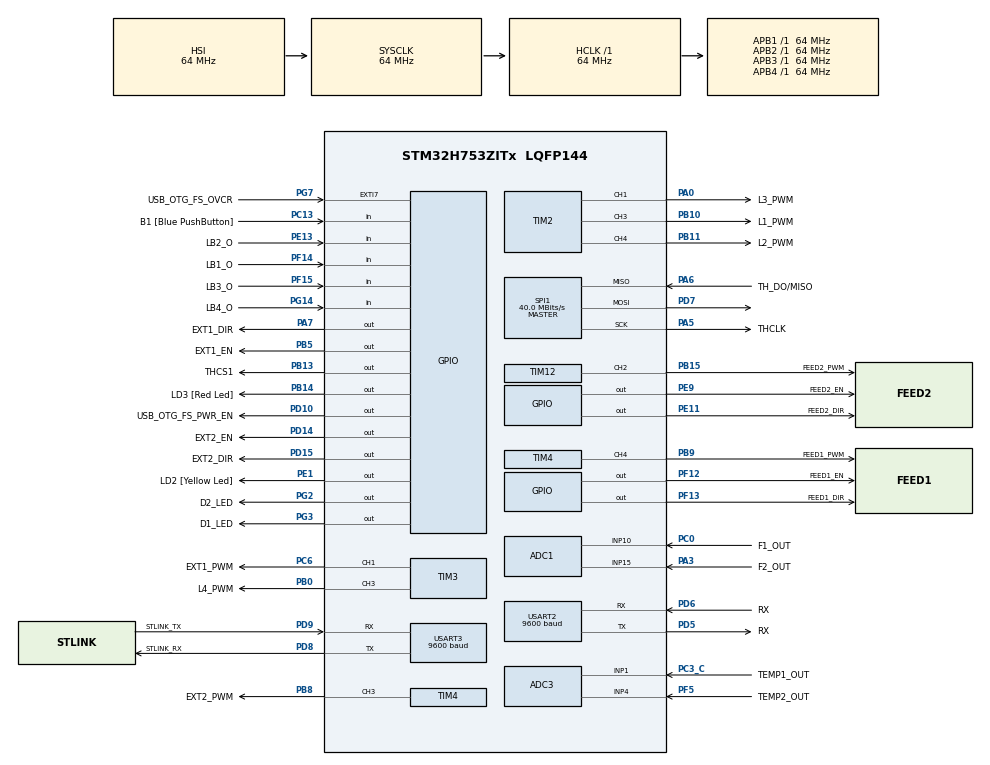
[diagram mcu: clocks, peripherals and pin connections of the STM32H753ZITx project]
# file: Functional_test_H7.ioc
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ADC1.Channel-0\#ChannelRegularConversion=ADC_CHANNEL_15
ADC1.NbrOfConversionFlag=1
ADC1.OffsetNumber-0\#ChannelRegularConversion=ADC_OFFSET_NONE
ADC1.OffsetSignedSaturation-0\#ChannelRegularConversion=DISABLE
ADC1.Rank-0\#ChannelRegularConversion=1
ADC1.SamplingTime-0\#ChannelRegularConversion=ADC_SAMPLETIME_1CYCLE_5
ADC1.master=1
ADC3.Channel-0\#ChannelRegularConversion=ADC_CHANNEL_1
ADC3.NbrOfConversionFlag=1
ADC3.OffsetNumber-0\#ChannelRegularConversion=ADC_OFFSET_NONE
ADC3.OffsetSignedSaturation-0\#ChannelRegularConversion=DISABLE
ADC3.Rank-0\#ChannelRegularConversion=1
ADC3.SamplingTime-0\#ChannelRegularConversion=ADC_SAMPLETIME_1CYCLE_5
CORTEX_M7.CPU_DCache=Disabled
CORTEX_M7.CPU_ICache=Disabled
CORTEX_M7.MPU_Control=__NULL
Mcu.Family=STM32H7
Mcu.Name=STM32H753ZITx
Mcu.Package=LQFP144
NVIC.EXTI9_5_IRQn=true\:0\:0\:false\:false\:true\:true\:true\:true
NVIC.PriorityGroup=NVIC_PRIORITYGROUP_4
NVIC.USART3_IRQn=true\:0\:0\:false\:false\:true\:true\:true\:true
PA0.GPIO_Label=L3_PWM
PA0.Signal=S_TIM2_CH1_ETR
PA1.Signal=ETH_REF_CLK
PA11.Signal=USB_OTG_FS_DM
PA12.Signal=USB_OTG_FS_DP
PA2.Signal=ETH_MDIO
PA3.GPIO_Label=F2_OUT
PA3.Signal=ADCx_INP15
PA5.GPIO_Label=THCLK
PA5.Mode=Full_Duplex_Master
PA5.Signal=SPI1_SCK
PA6.GPIO_Label=TH_DO/MISO
PA6.Mode=Full_Duplex_Master
PA6.Signal=SPI1_MISO
PA7.GPIO_Label=EXT1_DIR
PA7.Signal=GPIO_Output
PA8.Signal=USB_OTG_FS_SOF
PA9.Signal=USB_OTG_FS_VBUS
PB0.GPIO_Label=L4_PWM
PB0.Signal=S_TIM3_CH3
PB10.GPIO_Label=L1_PWM
PB10.Signal=S_TIM2_CH3
PB11.GPIO_Label=L2_PWM
PB11.Signal=S_TIM2_CH4
PB13.GPIO_Label=THCS1
PB13.Signal=GPIO_Output
PB14.GPIO_Label=LD3 [Red Led]
PB14.Signal=GPIO_Output
PB15.GPIO_Label=FEED2_PWM
PB15.Signal=S_TIM12_CH2
PB5.GPIO_Label=EXT1_EN
PB5.Signal=GPIO_Output
PB8.GPIO_Label=EXT2_PWM
PB8.Signal=S_TIM4_CH3
PB9.GPIO_Label=FEED1_PWM
PB9.Signal=S_TIM4_CH4
PC0.GPIO_Label=F1_OUT
PC0.Signal=ADCx_INP10
PC1.Signal=ETH_MDC
PC13.GPIO_Label=B1 [Blue PushButton]
PC13.Signal=GPIO_Input
PC14-OSC32_IN\ (OSC32_IN).Signal=RCC_OSC32_IN
PC15-OSC32_OUT\ (OSC32_OUT).Signal=RCC_OSC32_OUT
PC3_C.GPIO_Label=TEMP1_OUT
PC3_C.Mode=IN1-Single-Ended
PC3_C.Signal=ADC3_INP1
PC4.Signal=ETH_RXD0
PC5.Signal=ETH_RXD1
PC6.GPIO_Label=EXT1_PWM
PC6.Signal=S_TIM3_CH1
PD10.GPIO_Label=USB_OTG_FS_PWR_EN
PD10.Signal=GPIO_Output
PD14.GPIO_Label=EXT2_EN
PD14.Signal=GPIO_Output
PD15.GPIO_Label=EXT2_DIR
PD15.Signal=GPIO_Output
PD5.GPIO_Label=RX
PD5.Mode=Asynchronous
PD5.Signal=USART2_TX
PD6.GPIO_Label=RX
PD6.Mode=Asynchronous
PD6.Signal=USART2_RX
PD7.Mode=Full_Duplex_Master
PD7.Signal=SPI1_MOSI
PD8.GPIO_Label=STLINK_RX
PD8.Mode=Asynchronous
PD8.Signal=USART3_TX
PD9.GPIO_Label=STLINK_TX
PD9.Mode=Asynchronous
PD9.Signal=USART3_RX
PE1.GPIO_Label=LD2 [Yellow Led]
PE1.Signal=GPIO_Output
PE11.GPIO_Label=FEED2_DIR
PE11.Signal=GPIO_Output
PE13.GPIO_Label=LB2_O
PE13.Signal=GPIO_Input
PE9.GPIO_Label=FEED2_EN
PE9.Signal=GPIO_Output
PF12.GPIO_Label=FEED1_EN
PF12.Signal=GPIO_Output
PF13.GPIO_Label=FEED1_DIR
PF13.Signal=GPIO_Output
PF14.GPIO_Label=LB1_O
PF14.Signal=GPIO_Input
PF15.GPIO_Label=LB3_O
PF15.Signal=GPIO_Input
PF5.GPIO_Label=TEMP2_OUT
PF5.Mode=IN4-Single-Ended
PF5.Signal=ADC3_INP4
PG11.Signal=ETH_TX_EN
PG13.Signal=ETH_TXD0
PG14.GPIO_Label=LB4_O
PG14.Signal=GPIO_Input
PG2.GPIO_Label=D2_LED
PG2.Signal=GPIO_Output
PG3.GPIO_Label=D1_LED
PG3.Signal=GPIO_Output
PG7.GPIO_Label=USB_OTG_FS_OVCR
PG7.Signal=GPXTI7
PH0-OSC_IN\ (PH0).Signal=RCC_OSC_IN
PH1-OSC_OUT\ (PH1).Signal=RCC_OSC_OUT
ProjectManager.HeapSize=0x200
ProjectManager.StackSize=0x400
ProjectManager.TargetToolchain=STM32CubeIDE
RCC.ADCFreq_Value=80000000
RCC.APB1Freq_Value=64000000
RCC.APB2Freq_Value=64000000
RCC.APB3Freq_Value=64000000
RCC.APB4Freq_Value=64000000
RCC.CortexFreq_Value=64000000
RCC.DIVM1=4
RCC.DIVM2=4
RCC.DIVN1=10
RCC.DIVN2=10
RCC.DIVQ1=1
RCC.HCLKFreq_Value=64000000
RCC.HSE_VALUE=8000000
RCC.PLL2FRACN=0
RCC.PLL3FRACN=0
RCC.PLLFRACN=0
RCC.PWR_Regulator_Voltage_Scale=PWR_REGULATOR_VOLTAGE_SCALE2
RCC.SPI123CLockSelection=RCC_SPI123CLKSOURCE_PLL2
RCC.SYSCLKFreq_VALUE=64000000
RCC.USBFreq_Value=160000000
SH.ADCx_INP10.0=ADC1_INP10,IN10-Single-Ended
SH.ADCx_INP15.0=ADC1_INP15,IN15-Single-Ended
SH.S_TIM12_CH2.0=TIM12_CH2,PWM Generation2 CH2
SH.S_TIM2_CH1_ETR.0=TIM2_CH1,PWM Generation1 CH1
SH.S_TIM2_CH3.0=TIM2_CH3,PWM Generation3 CH3
SH.S_TIM2_CH4.0=TIM2_CH4,PWM Generation4 CH4
SH.S_TIM3_CH1.0=TIM3_CH1,PWM Generation1 CH1
SH.S_TIM3_CH3.0=TIM3_CH3,PWM Generation3 CH3
SH.S_TIM4_CH3.0=TIM4_CH3,PWM Generation3 CH3
SH.S_TIM4_CH4.0=TIM4_CH4,PWM Generation4 CH4
SPI1.BaudRatePrescaler=SPI_BAUDRATEPRESCALER_2
SPI1.CalculateBaudRate=40.0 MBits/s
SPI1.Direction=SPI_DIRECTION_2LINES
SPI1.Mode=SPI_MODE_MASTER
SPI1.VirtualType=VM_MASTER
TIM12.AutoReloadPreload=TIM_AUTORELOAD_PRELOAD_ENABLE
TIM12.Channel-PWM\ Generation2\ CH2=TIM_CHANNEL_2
TIM2.AutoReloadPreload=TIM_AUTORELOAD_PRELOAD_ENABLE
TIM2.Channel-PWM\ Generation1\ CH1=TIM_CHANNEL_1
TIM2.Channel-PWM\ Generation3\ CH3=TIM_CHANNEL_3
TIM2.Channel-PWM\ Generation4\ CH4=TIM_CHANNEL_4
TIM3.AutoReloadPreload=TIM_AUTORELOAD_PRELOAD_ENABLE
TIM3.Channel-PWM\ Generation1\ CH1=TIM_CHANNEL_1
TIM3.Channel-PWM\ Generation3\ CH3=TIM_CHANNEL_3
TIM4.AutoReloadPreload=TIM_AUTORELOAD_PRELOAD_ENABLE
TIM4.Channel-PWM\ Generation3\ CH3=TIM_CHANNEL_3
TIM4.Channel-PWM\ Generation4\ CH4=TIM_CHANNEL_4
TIM8.AutoReloadPreload=TIM_AUTORELOAD_PRELOAD_ENABLE
USART2.BaudRate=9600
USART2.VirtualMode-Asynchronous=VM_ASYNC
USART3.BaudRate=9600
USART3.VirtualMode-Asynchronous=VM_ASYNC
VP_MEMORYMAP_VS_MEMORYMAP.Mode=CurAppReg
VP_TIM12_VS_ClockSourceINT.Mode=Internal
VP_TIM2_VS_ClockSourceINT.Mode=Internal
VP_TIM3_VS_ClockSourceINT.Mode=Internal
VP_TIM4_VS_ClockSourceINT.Mode=Internal
VP_TIM8_VS_ClockSourceINT.Mode=Internal
board=NUCLEO-H753ZI

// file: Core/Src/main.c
/* USER CODE BEGIN Header */
/**
  ******************************************************************************
  * @file           : main.c
  * @brief          : Main program body
  ******************************************************************************
  * @attention
  *
  * Copyright (c) 2024 STMicroelectronics.
  * All rights reserved.
  *
  * This software is licensed under terms that can be found in the LICENSE file
  * in the root directory of this software component.
  * If no LICENSE file comes with this software, it is provided AS-IS.
  *
  ******************************************************************************
  */
/* USER CODE END Header */
#include "main.h"

/* USER CODE BEGIN Includes */
#include <string.h>
#include <stdio.h>
#include <stdlib.h>
/* USER CODE END Includes */

ADC_HandleTypeDef hadc1;
ADC_HandleTypeDef hadc3;

SPI_HandleTypeDef hspi1;

TIM_HandleTypeDef htim2;
TIM_HandleTypeDef htim3;
TIM_HandleTypeDef htim4;
TIM_HandleTypeDef htim8;
TIM_HandleTypeDef htim12;

UART_HandleTypeDef huart2;
UART_HandleTypeDef huart3;

void SystemClock_Config(void);
void PeriphCommonClock_Config(void);
static void MX_GPIO_Init(void);
static void MX_ADC1_Init(void);
static void MX_ADC3_Init(void);
static void MX_SPI1_Init(void);
static void MX_TIM2_Init(void);
static void MX_TIM3_Init(void);
static void MX_TIM4_Init(void);
static void MX_TIM8_Init(void);
static void MX_TIM12_Init(void);
static void MX_USART2_UART_Init(void);
static void MX_USART3_UART_Init(void);
/* USER CODE BEGIN PFP */
//funcrion declaration
void processSerialInput(void);
void updatePWMValue(uint8_t pinIndex,uint16_t pwmValue);
void setGPIOState(uint8_t pinIndex,GPIO_PinState state);
/* USER CODE END PFP */

/* USER CODE BEGIN 0 */

//UART recieve buffer
#define RX_BUFFER_SIZE 100
uint8_t rxBuffer[RX_BUFFER_SIZE];
uint8_t rxIndex = 0;
uint8_t dataReceived = 0;

/* USER CODE END 0 */

int main(void)
{

  /* MCU Configuration--------------------------------------------------------*/

  /* Reset of all peripherals, Initializes the Flash interface and the Systick. */
  HAL_Init();

  /* Configure the system clock */
  SystemClock_Config();

  /* Configure the peripherals common clocks */
  PeriphCommonClock_Config();

  /* Initialize all configured peripherals */
  MX_GPIO_Init();
  MX_ADC1_Init();
  MX_ADC3_Init();
  MX_SPI1_Init();
  MX_TIM2_Init();
  MX_TIM3_Init();
  MX_TIM4_Init();
  MX_TIM8_Init();
  MX_TIM12_Init();
  MX_USART2_UART_Init();
  MX_USART3_UART_Init();
  /* USER CODE BEGIN 2 */

  //Start PWM channels

  HAL_TIM_PWM_Start(&htim3, TIM_CHANNEL_1);//Extruder 1 pwm
  HAL_TIM_PWM_Start(&htim4, TIM_CHANNEL_3);//Extruder 2 pwm
  HAL_TIM_PWM_Start(&htim4, TIM_CHANNEL_4);//Feed 1 pwm
  HAL_TIM_PWM_Start(&htim12, TIM_CHANNEL_2);//Feed 2 pwm
  HAL_TIM_PWM_Start(&htim2, TIM_CHANNEL_3);//L1 pwm
  HAL_TIM_PWM_Start(&htim2, TIM_CHANNEL_4);//L2 pwm
  HAL_TIM_PWM_Start(&htim2, TIM_CHANNEL_1);//L3 pwm
  HAL_TIM_PWM_Start(&htim3, TIM_CHANNEL_3);//L4 pwm

  //Start UART Reception

  HAL_UART_Receive_IT(&huart3,&rxBuffer[rxIndex],1);

  /* USER CODE END 2 */

  /* Infinite loop */
  /* USER CODE BEGIN WHILE */
  while (1)
  {
	  if (dataReceived){
		  processSerialInput();
		  dataReceived = 0;
	  }

    /* USER CODE END WHILE */

  }
}

void SystemClock_Config(void)
{
  RCC_OscInitTypeDef RCC_OscInitStruct = {0};
  RCC_ClkInitTypeDef RCC_ClkInitStruct = {0};

  /** Supply configuration update enable
  */
  HAL_PWREx_ConfigSupply(PWR_LDO_SUPPLY);

  /** Configure the main internal regulator output voltage
  */
  __HAL_PWR_VOLTAGESCALING_CONFIG(PWR_REGULATOR_VOLTAGE_SCALE2);

  while(!__HAL_PWR_GET_FLAG(PWR_FLAG_VOSRDY)) {}

  /** Macro to configure the PLL clock source
  */
  __HAL_RCC_PLL_PLLSOURCE_CONFIG(RCC_PLLSOURCE_HSI);

  /** Initializes the RCC Oscillators according to the specified parameters
  * in the RCC_OscInitTypeDef structure.
  */
  RCC_OscInitStruct.OscillatorType = RCC_OSCILLATORTYPE_HSI;
  RCC_OscInitStruct.HSIState = RCC_HSI_DIV1;
  RCC_OscInitStruct.HSICalibrationValue = RCC_HSICALIBRATION_DEFAULT;
  RCC_OscInitStruct.PLL.PLLState = RCC_PLL_NONE;
  if (HAL_RCC_OscConfig(&RCC_OscInitStruct) != HAL_OK)
  {
    Error_Handler();
  }

  /** Initializes the CPU, AHB and APB buses clocks
  */
  RCC_ClkInitStruct.ClockType = RCC_CLOCKTYPE_HCLK|RCC_CLOCKTYPE_SYSCLK
                              |RCC_CLOCKTYPE_PCLK1|RCC_CLOCKTYPE_PCLK2
                              |RCC_CLOCKTYPE_D3PCLK1|RCC_CLOCKTYPE_D1PCLK1;
  RCC_ClkInitStruct.SYSCLKSource = RCC_SYSCLKSOURCE_HSI;
  RCC_ClkInitStruct.SYSCLKDivider = RCC_SYSCLK_DIV1;
  RCC_ClkInitStruct.AHBCLKDivider = RCC_HCLK_DIV1;
  RCC_ClkInitStruct.APB3CLKDivider = RCC_APB3_DIV1;
  RCC_ClkInitStruct.APB1CLKDivider = RCC_APB1_DIV1;
  RCC_ClkInitStruct.APB2CLKDivider = RCC_APB2_DIV1;
  RCC_ClkInitStruct.APB4CLKDivider = RCC_APB4_DIV1;

  if (HAL_RCC_ClockConfig(&RCC_ClkInitStruct, FLASH_LATENCY_1) != HAL_OK)
  {
    Error_Handler();
  }
}

void PeriphCommonClock_Config(void)
{
  RCC_PeriphCLKInitTypeDef PeriphClkInitStruct = {0};

  /** Initializes the peripherals clock
  */
  PeriphClkInitStruct.PeriphClockSelection = RCC_PERIPHCLK_ADC|RCC_PERIPHCLK_SPI1;
  PeriphClkInitStruct.PLL2.PLL2M = 4;
  PeriphClkInitStruct.PLL2.PLL2N = 10;
  PeriphClkInitStruct.PLL2.PLL2P = 2;
  PeriphClkInitStruct.PLL2.PLL2Q = 2;
  PeriphClkInitStruct.PLL2.PLL2R = 2;
  PeriphClkInitStruct.PLL2.PLL2RGE = RCC_PLL2VCIRANGE_3;
  PeriphClkInitStruct.PLL2.PLL2VCOSEL = RCC_PLL2VCOMEDIUM;
  PeriphClkInitStruct.PLL2.PLL2FRACN = 0;
  PeriphClkInitStruct.Spi123ClockSelection = RCC_SPI123CLKSOURCE_PLL2;
  PeriphClkInitStruct.AdcClockSelection = RCC_ADCCLKSOURCE_PLL2;
  if (HAL_RCCEx_PeriphCLKConfig(&PeriphClkInitStruct) != HAL_OK)
  {
    Error_Handler();
  }
}

static void MX_ADC1_Init(void)
{

  ADC_MultiModeTypeDef multimode = {0};
  ADC_ChannelConfTypeDef sConfig = {0};

  /** Common config
  */
  hadc1.Instance = ADC1;
  hadc1.Init.ScanConvMode = ADC_SCAN_DISABLE;
  hadc1.Init.EOCSelection = ADC_EOC_SINGLE_CONV;
  hadc1.Init.LowPowerAutoWait = DISABLE;
  hadc1.Init.ContinuousConvMode = DISABLE;
  hadc1.Init.NbrOfConversion = 1;
  hadc1.Init.DiscontinuousConvMode = DISABLE;
  hadc1.Init.ExternalTrigConv = ADC_SOFTWARE_START;
  hadc1.Init.ExternalTrigConvEdge = ADC_EXTERNALTRIGCONVEDGE_NONE;
  hadc1.Init.ConversionDataManagement = ADC_CONVERSIONDATA_DR;
  hadc1.Init.Overrun = ADC_OVR_DATA_PRESERVED;
  hadc1.Init.LeftBitShift = ADC_LEFTBITSHIFT_NONE;
  hadc1.Init.OversamplingMode = DISABLE;
  hadc1.Init.Oversampling.Ratio = 1;
  if (HAL_ADC_Init(&hadc1) != HAL_OK)
  {
    Error_Handler();
  }
  hadc1.Init.ClockPrescaler = ADC_CLOCK_ASYNC_DIV2;
  hadc1.Init.Resolution = ADC_RESOLUTION_16B;
  if (HAL_ADC_Init(&hadc1) != HAL_OK)
  {
    Error_Handler();
  }

  /** Configure the ADC multi-mode
  */
  multimode.Mode = ADC_MODE_INDEPENDENT;
  if (HAL_ADCEx_MultiModeConfigChannel(&hadc1, &multimode) != HAL_OK)
  {
    Error_Handler();
  }

  /** Configure Regular Channel
  */
  sConfig.Channel = ADC_CHANNEL_15;
  sConfig.Rank = ADC_REGULAR_RANK_1;
  sConfig.SamplingTime = ADC_SAMPLETIME_1CYCLE_5;
  sConfig.SingleDiff = ADC_SINGLE_ENDED;
  sConfig.OffsetNumber = ADC_OFFSET_NONE;
  sConfig.Offset = 0;
  sConfig.OffsetSignedSaturation = DISABLE;
  if (HAL_ADC_ConfigChannel(&hadc1, &sConfig) != HAL_OK)
  {
    Error_Handler();
  }

}

static void MX_ADC3_Init(void)
{

  ADC_ChannelConfTypeDef sConfig = {0};

  /** Common config
  */
  hadc3.Instance = ADC3;
  hadc3.Init.ClockPrescaler = ADC_CLOCK_ASYNC_DIV1;
  hadc3.Init.ScanConvMode = ADC_SCAN_DISABLE;
  hadc3.Init.EOCSelection = ADC_EOC_SINGLE_CONV;
  hadc3.Init.LowPowerAutoWait = DISABLE;
  hadc3.Init.ContinuousConvMode = DISABLE;
  hadc3.Init.NbrOfConversion = 1;
  hadc3.Init.DiscontinuousConvMode = DISABLE;
  hadc3.Init.ExternalTrigConv = ADC_SOFTWARE_START;
  hadc3.Init.ExternalTrigConvEdge = ADC_EXTERNALTRIGCONVEDGE_NONE;
  hadc3.Init.ConversionDataManagement = ADC_CONVERSIONDATA_DR;
  hadc3.Init.Overrun = ADC_OVR_DATA_PRESERVED;
  hadc3.Init.LeftBitShift = ADC_LEFTBITSHIFT_NONE;
  hadc3.Init.OversamplingMode = DISABLE;
  hadc3.Init.Oversampling.Ratio = 1;
  if (HAL_ADC_Init(&hadc3) != HAL_OK)
  {
    Error_Handler();
  }
  hadc3.Init.Resolution = ADC_RESOLUTION_16B;
  if (HAL_ADC_Init(&hadc3) != HAL_OK)
  {
    Error_Handler();
  }

  /** Configure Regular Channel
  */
  sConfig.Channel = ADC_CHANNEL_1;
  sConfig.Rank = ADC_REGULAR_RANK_1;
  sConfig.SamplingTime = ADC_SAMPLETIME_1CYCLE_5;
  sConfig.SingleDiff = ADC_SINGLE_ENDED;
  sConfig.OffsetNumber = ADC_OFFSET_NONE;
  sConfig.Offset = 0;
  sConfig.OffsetSignedSaturation = DISABLE;
  if (HAL_ADC_ConfigChannel(&hadc3, &sConfig) != HAL_OK)
  {
    Error_Handler();
  }

}

static void MX_SPI1_Init(void)
{

  /* SPI1 parameter configuration*/
  hspi1.Instance = SPI1;
  hspi1.Init.Mode = SPI_MODE_MASTER;
  hspi1.Init.Direction = SPI_DIRECTION_2LINES;
  hspi1.Init.DataSize = SPI_DATASIZE_4BIT;
  hspi1.Init.CLKPolarity = SPI_POLARITY_LOW;
  hspi1.Init.CLKPhase = SPI_PHASE_1EDGE;
  hspi1.Init.NSS = SPI_NSS_SOFT;
  hspi1.Init.BaudRatePrescaler = SPI_BAUDRATEPRESCALER_2;
  hspi1.Init.FirstBit = SPI_FIRSTBIT_MSB;
  hspi1.Init.TIMode = SPI_TIMODE_DISABLE;
  hspi1.Init.CRCCalculation = SPI_CRCCALCULATION_DISABLE;
  hspi1.Init.CRCPolynomial = 0x0;
  hspi1.Init.NSSPMode = SPI_NSS_PULSE_ENABLE;
  hspi1.Init.NSSPolarity = SPI_NSS_POLARITY_LOW;
  hspi1.Init.FifoThreshold = SPI_FIFO_THRESHOLD_01DATA;
  hspi1.Init.TxCRCInitializationPattern = SPI_CRC_INITIALIZATION_ALL_ZERO_PATTERN;
  hspi1.Init.RxCRCInitializationPattern = SPI_CRC_INITIALIZATION_ALL_ZERO_PATTERN;
  hspi1.Init.MasterSSIdleness = SPI_MASTER_SS_IDLENESS_00CYCLE;
  hspi1.Init.MasterInterDataIdleness = SPI_MASTER_INTERDATA_IDLENESS_00CYCLE;
  hspi1.Init.MasterReceiverAutoSusp = SPI_MASTER_RX_AUTOSUSP_DISABLE;
  hspi1.Init.MasterKeepIOState = SPI_MASTER_KEEP_IO_STATE_DISABLE;
  hspi1.Init.IOSwap = SPI_IO_SWAP_DISABLE;
  if (HAL_SPI_Init(&hspi1) != HAL_OK)
  {
    Error_Handler();
  }

}

static void MX_TIM2_Init(void)
{

  TIM_ClockConfigTypeDef sClockSourceConfig = {0};
  TIM_MasterConfigTypeDef sMasterConfig = {0};
  TIM_OC_InitTypeDef sConfigOC = {0};

  htim2.Instance = TIM2;
  htim2.Init.Prescaler = 0;
  htim2.Init.CounterMode = TIM_COUNTERMODE_UP;
  htim2.Init.Period = 255;
  htim2.Init.ClockDivision = TIM_CLOCKDIVISION_DIV1;
  htim2.Init.AutoReloadPreload = TIM_AUTORELOAD_PRELOAD_ENABLE;
  if (HAL_TIM_Base_Init(&htim2) != HAL_OK)
  {
    Error_Handler();
  }
  sClockSourceConfig.ClockSource = TIM_CLOCKSOURCE_INTERNAL;
  if (HAL_TIM_ConfigClockSource(&htim2, &sClockSourceConfig) != HAL_OK)
  {
    Error_Handler();
  }
  if (HAL_TIM_PWM_Init(&htim2) != HAL_OK)
  {
    Error_Handler();
  }
  sMasterConfig.MasterOutputTrigger = TIM_TRGO_RESET;
  sMasterConfig.MasterSlaveMode = TIM_MASTERSLAVEMODE_DISABLE;
  if (HAL_TIMEx_MasterConfigSynchronization(&htim2, &sMasterConfig) != HAL_OK)
  {
    Error_Handler();
  }
  sConfigOC.OCMode = TIM_OCMODE_PWM1;
  sConfigOC.Pulse = 0;
  sConfigOC.OCPolarity = TIM_OCPOLARITY_HIGH;
  sConfigOC.OCFastMode = TIM_OCFAST_DISABLE;
  if (HAL_TIM_PWM_ConfigChannel(&htim2, &sConfigOC, TIM_CHANNEL_1) != HAL_OK)
  {
    Error_Handler();
  }
  if (HAL_TIM_PWM_ConfigChannel(&htim2, &sConfigOC, TIM_CHANNEL_3) != HAL_OK)
  {
    Error_Handler();
  }
  if (HAL_TIM_PWM_ConfigChannel(&htim2, &sConfigOC, TIM_CHANNEL_4) != HAL_OK)
  {
    Error_Handler();
  }
  HAL_TIM_MspPostInit(&htim2);

}

static void MX_TIM3_Init(void)
{

  TIM_ClockConfigTypeDef sClockSourceConfig = {0};
  TIM_MasterConfigTypeDef sMasterConfig = {0};
  TIM_OC_InitTypeDef sConfigOC = {0};

  htim3.Instance = TIM3;
  htim3.Init.Prescaler = 0;
  htim3.Init.CounterMode = TIM_COUNTERMODE_UP;
  htim3.Init.Period = 255;
  htim3.Init.ClockDivision = TIM_CLOCKDIVISION_DIV1;
  htim3.Init.AutoReloadPreload = TIM_AUTORELOAD_PRELOAD_ENABLE;
  if (HAL_TIM_Base_Init(&htim3) != HAL_OK)
  {
    Error_Handler();
  }
  sClockSourceConfig.ClockSource = TIM_CLOCKSOURCE_INTERNAL;
  if (HAL_TIM_ConfigClockSource(&htim3, &sClockSourceConfig) != HAL_OK)
  {
    Error_Handler();
  }
  if (HAL_TIM_PWM_Init(&htim3) != HAL_OK)
  {
    Error_Handler();
  }
  sMasterConfig.MasterOutputTrigger = TIM_TRGO_RESET;
  sMasterConfig.MasterSlaveMode = TIM_MASTERSLAVEMODE_DISABLE;
  if (HAL_TIMEx_MasterConfigSynchronization(&htim3, &sMasterConfig) != HAL_OK)
  {
    Error_Handler();
  }
  sConfigOC.OCMode = TIM_OCMODE_PWM1;
  sConfigOC.Pulse = 0;
  sConfigOC.OCPolarity = TIM_OCPOLARITY_HIGH;
  sConfigOC.OCFastMode = TIM_OCFAST_DISABLE;
  if (HAL_TIM_PWM_ConfigChannel(&htim3, &sConfigOC, TIM_CHANNEL_1) != HAL_OK)
  {
    Error_Handler();
  }
  if (HAL_TIM_PWM_ConfigChannel(&htim3, &sConfigOC, TIM_CHANNEL_3) != HAL_OK)
  {
    Error_Handler();
  }
  HAL_TIM_MspPostInit(&htim3);

}

static void MX_TIM4_Init(void)
{

  TIM_ClockConfigTypeDef sClockSourceConfig = {0};
  TIM_MasterConfigTypeDef sMasterConfig = {0};
  TIM_OC_InitTypeDef sConfigOC = {0};

  htim4.Instance = TIM4;
  htim4.Init.Prescaler = 0;
  htim4.Init.CounterMode = TIM_COUNTERMODE_UP;
  htim4.Init.Period = 255;
  htim4.Init.ClockDivision = TIM_CLOCKDIVISION_DIV1;
  htim4.Init.AutoReloadPreload = TIM_AUTORELOAD_PRELOAD_ENABLE;
  if (HAL_TIM_Base_Init(&htim4) != HAL_OK)
  {
    Error_Handler();
  }
  sClockSourceConfig.ClockSource = TIM_CLOCKSOURCE_INTERNAL;
  if (HAL_TIM_ConfigClockSource(&htim4, &sClockSourceConfig) != HAL_OK)
  {
    Error_Handler();
  }
  if (HAL_TIM_PWM_Init(&htim4) != HAL_OK)
  {
    Error_Handler();
  }
  sMasterConfig.MasterOutputTrigger = TIM_TRGO_RESET;
  sMasterConfig.MasterSlaveMode = TIM_MASTERSLAVEMODE_DISABLE;
  if (HAL_TIMEx_MasterConfigSynchronization(&htim4, &sMasterConfig) != HAL_OK)
  {
    Error_Handler();
  }
  sConfigOC.OCMode = TIM_OCMODE_PWM1;
  sConfigOC.Pulse = 0;
  sConfigOC.OCPolarity = TIM_OCPOLARITY_HIGH;
  sConfigOC.OCFastMode = TIM_OCFAST_DISABLE;
  if (HAL_TIM_PWM_ConfigChannel(&htim4, &sConfigOC, TIM_CHANNEL_3) != HAL_OK)
  {
    Error_Handler();
  }
  if (HAL_TIM_PWM_ConfigChannel(&htim4, &sConfigOC, TIM_CHANNEL_4) != HAL_OK)
  {
    Error_Handler();
  }
  HAL_TIM_MspPostInit(&htim4);

}

static void MX_TIM8_Init(void)
{

  TIM_ClockConfigTypeDef sClockSourceConfig = {0};
  TIM_MasterConfigTypeDef sMasterConfig = {0};

  htim8.Instance = TIM8;
  htim8.Init.Prescaler = 0;
  htim8.Init.CounterMode = TIM_COUNTERMODE_UP;
  htim8.Init.Period = 255;
  htim8.Init.ClockDivision = TIM_CLOCKDIVISION_DIV1;
  htim8.Init.RepetitionCounter = 0;
  htim8.Init.AutoReloadPreload = TIM_AUTORELOAD_PRELOAD_ENABLE;
  if (HAL_TIM_Base_Init(&htim8) != HAL_OK)
  {
    Error_Handler();
  }
  sClockSourceConfig.ClockSource = TIM_CLOCKSOURCE_INTERNAL;
  if (HAL_TIM_ConfigClockSource(&htim8, &sClockSourceConfig) != HAL_OK)
  {
    Error_Handler();
  }
  sMasterConfig.MasterOutputTrigger = TIM_TRGO_RESET;
  sMasterConfig.MasterOutputTrigger2 = TIM_TRGO2_RESET;
  sMasterConfig.MasterSlaveMode = TIM_MASTERSLAVEMODE_DISABLE;
  if (HAL_TIMEx_MasterConfigSynchronization(&htim8, &sMasterConfig) != HAL_OK)
  {
    Error_Handler();
  }

}

static void MX_TIM12_Init(void)
{

  TIM_ClockConfigTypeDef sClockSourceConfig = {0};
  TIM_MasterConfigTypeDef sMasterConfig = {0};
  TIM_OC_InitTypeDef sConfigOC = {0};

  htim12.Instance = TIM12;
  htim12.Init.Prescaler = 0;
  htim12.Init.CounterMode = TIM_COUNTERMODE_UP;
  htim12.Init.Period = 255;
  htim12.Init.ClockDivision = TIM_CLOCKDIVISION_DIV1;
  htim12.Init.AutoReloadPreload = TIM_AUTORELOAD_PRELOAD_ENABLE;
  if (HAL_TIM_Base_Init(&htim12) != HAL_OK)
  {
    Error_Handler();
  }
  sClockSourceConfig.ClockSource = TIM_CLOCKSOURCE_INTERNAL;
  if (HAL_TIM_ConfigClockSource(&htim12, &sClockSourceConfig) != HAL_OK)
  {
    Error_Handler();
  }
  if (HAL_TIM_PWM_Init(&htim12) != HAL_OK)
  {
    Error_Handler();
  }
  sMasterConfig.MasterOutputTrigger = TIM_TRGO_RESET;
  sMasterConfig.MasterSlaveMode = TIM_MASTERSLAVEMODE_DISABLE;
  if (HAL_TIMEx_MasterConfigSynchronization(&htim12, &sMasterConfig) != HAL_OK)
  {
    Error_Handler();
  }
  sConfigOC.OCMode = TIM_OCMODE_PWM1;
  sConfigOC.Pulse = 0;
  sConfigOC.OCPolarity = TIM_OCPOLARITY_HIGH;
  sConfigOC.OCFastMode = TIM_OCFAST_DISABLE;
  if (HAL_TIM_PWM_ConfigChannel(&htim12, &sConfigOC, TIM_CHANNEL_2) != HAL_OK)
  {
    Error_Handler();
  }
  HAL_TIM_MspPostInit(&htim12);

}

static void MX_USART2_UART_Init(void)
{

  huart2.Instance = USART2;
  huart2.Init.BaudRate = 9600;
  huart2.Init.WordLength = UART_WORDLENGTH_8B;
  huart2.Init.StopBits = UART_STOPBITS_1;
  huart2.Init.Parity = UART_PARITY_NONE;
  huart2.Init.Mode = UART_MODE_TX_RX;
  huart2.Init.HwFlowCtl = UART_HWCONTROL_NONE;
  huart2.Init.OverSampling = UART_OVERSAMPLING_16;
  huart2.Init.OneBitSampling = UART_ONE_BIT_SAMPLE_DISABLE;
  huart2.Init.ClockPrescaler = UART_PRESCALER_DIV1;
  huart2.AdvancedInit.AdvFeatureInit = UART_ADVFEATURE_NO_INIT;
  if (HAL_UART_Init(&huart2) != HAL_OK)
  {
    Error_Handler();
  }
  if (HAL_UARTEx_SetTxFifoThreshold(&huart2, UART_TXFIFO_THRESHOLD_1_8) != HAL_OK)
  {
    Error_Handler();
  }
  if (HAL_UARTEx_SetRxFifoThreshold(&huart2, UART_RXFIFO_THRESHOLD_1_8) != HAL_OK)
  {
    Error_Handler();
  }
  if (HAL_UARTEx_DisableFifoMode(&huart2) != HAL_OK)
  {
    Error_Handler();
  }

}

static void MX_USART3_UART_Init(void)
{

  huart3.Instance = USART3;
  huart3.Init.BaudRate = 9600;
  huart3.Init.WordLength = UART_WORDLENGTH_8B;
  huart3.Init.StopBits = UART_STOPBITS_1;
  huart3.Init.Parity = UART_PARITY_NONE;
  huart3.Init.Mode = UART_MODE_TX_RX;
  huart3.Init.HwFlowCtl = UART_HWCONTROL_NONE;
  huart3.Init.OverSampling = UART_OVERSAMPLING_16;
  huart3.Init.OneBitSampling = UART_ONE_BIT_SAMPLE_DISABLE;
  huart3.Init.ClockPrescaler = UART_PRESCALER_DIV1;
  huart3.AdvancedInit.AdvFeatureInit = UART_ADVFEATURE_NO_INIT;
  if (HAL_UART_Init(&huart3) != HAL_OK)
  {
    Error_Handler();
  }
  if (HAL_UARTEx_SetTxFifoThreshold(&huart3, UART_TXFIFO_THRESHOLD_1_8) != HAL_OK)
  {
    Error_Handler();
  }
  if (HAL_UARTEx_SetRxFifoThreshold(&huart3, UART_RXFIFO_THRESHOLD_1_8) != HAL_OK)
  {
    Error_Handler();
  }
  if (HAL_UARTEx_DisableFifoMode(&huart3) != HAL_OK)
  {
    Error_Handler();
  }

}

static void MX_GPIO_Init(void)
{
  GPIO_InitTypeDef GPIO_InitStruct = {0};

  /* GPIO Ports Clock Enable */
  __HAL_RCC_GPIOC_CLK_ENABLE();
  __HAL_RCC_GPIOF_CLK_ENABLE();
  __HAL_RCC_GPIOH_CLK_ENABLE();
  __HAL_RCC_GPIOA_CLK_ENABLE();
  __HAL_RCC_GPIOB_CLK_ENABLE();
  __HAL_RCC_GPIOE_CLK_ENABLE();
  __HAL_RCC_GPIOD_CLK_ENABLE();
  __HAL_RCC_GPIOG_CLK_ENABLE();

  /*Configure GPIO pin Output Level */
  HAL_GPIO_WritePin(FEED1_EN_GPIO_Port, FEED1_EN_Pin, GPIO_PIN_RESET);

  /*Configure GPIO pin Output Level */
  HAL_GPIO_WritePin(EXT1_DIR_GPIO_Port, EXT1_DIR_Pin, GPIO_PIN_RESET);

  /*Configure GPIO pin Output Level */
  HAL_GPIO_WritePin(GPIOE, FEED2_EN_Pin|FEED2_DIR_Pin|LD2_Pin, GPIO_PIN_RESET);

  /*Configure GPIO pin Output Level */
  HAL_GPIO_WritePin(GPIOB, THCS1_Pin|LD3_Pin|EXT1_EN_Pin|LB4_O_Pin, GPIO_PIN_RESET);

  /*Configure GPIO pin Output Level */
  HAL_GPIO_WritePin(GPIOD, USB_OTG_FS_PWR_EN_Pin|EXT2_EN_Pin|EXT2_DIR_Pin, GPIO_PIN_RESET);

  /*Configure GPIO pin Output Level */
  HAL_GPIO_WritePin(GPIOG, D2_LED_Pin|D1_LED_Pin|FEED1_DIR_Pin, GPIO_PIN_RESET);

  /*Configure GPIO pin : B1_Pin */
  GPIO_InitStruct.Pin = B1_Pin;
  GPIO_InitStruct.Mode = GPIO_MODE_INPUT;
  GPIO_InitStruct.Pull = GPIO_NOPULL;
  HAL_GPIO_Init(B1_GPIO_Port, &GPIO_InitStruct);

  /*Configure GPIO pin : FEED1_EN_Pin */
  GPIO_InitStruct.Pin = FEED1_EN_Pin;
  GPIO_InitStruct.Mode = GPIO_MODE_OUTPUT_PP;
  GPIO_InitStruct.Pull = GPIO_NOPULL;
  GPIO_InitStruct.Speed = GPIO_SPEED_FREQ_LOW;
  HAL_GPIO_Init(FEED1_EN_GPIO_Port, &GPIO_InitStruct);

  /*Configure GPIO pins : PC1 PC4 PC5 */
  GPIO_InitStruct.Pin = GPIO_PIN_1|GPIO_PIN_4|GPIO_PIN_5;
  GPIO_InitStruct.Mode = GPIO_MODE_AF_PP;
  GPIO_InitStruct.Pull = GPIO_NOPULL;
  GPIO_InitStruct.Speed = GPIO_SPEED_FREQ_LOW;
  GPIO_InitStruct.Alternate = GPIO_AF11_ETH;
  HAL_GPIO_Init(GPIOC, &GPIO_InitStruct);

  /*Configure GPIO pins : PA1 PA2 */
  GPIO_InitStruct.Pin = GPIO_PIN_1|GPIO_PIN_2;
  GPIO_InitStruct.Mode = GPIO_MODE_AF_PP;
  GPIO_InitStruct.Pull = GPIO_NOPULL;
  GPIO_InitStruct.Speed = GPIO_SPEED_FREQ_LOW;
  GPIO_InitStruct.Alternate = GPIO_AF11_ETH;
  HAL_GPIO_Init(GPIOA, &GPIO_InitStruct);

  /*Configure GPIO pin : EXT1_DIR_Pin */
  GPIO_InitStruct.Pin = EXT1_DIR_Pin;
  GPIO_InitStruct.Mode = GPIO_MODE_OUTPUT_PP;
  GPIO_InitStruct.Pull = GPIO_NOPULL;
  GPIO_InitStruct.Speed = GPIO_SPEED_FREQ_LOW;
  HAL_GPIO_Init(EXT1_DIR_GPIO_Port, &GPIO_InitStruct);

  /*Configure GPIO pin : LB1_O_Pin */
  GPIO_InitStruct.Pin = LB1_O_Pin;
  GPIO_InitStruct.Mode = GPIO_MODE_INPUT;
  GPIO_InitStruct.Pull = GPIO_NOPULL;
  HAL_GPIO_Init(LB1_O_GPIO_Port, &GPIO_InitStruct);

  /*Configure GPIO pins : FEED2_EN_Pin FEED2_DIR_Pin LD2_Pin */
  GPIO_InitStruct.Pin = FEED2_EN_Pin|FEED2_DIR_Pin|LD2_Pin;
  GPIO_InitStruct.Mode = GPIO_MODE_OUTPUT_PP;
  GPIO_InitStruct.Pull = GPIO_NOPULL;
  GPIO_InitStruct.Speed = GPIO_SPEED_FREQ_LOW;
  HAL_GPIO_Init(GPIOE, &GPIO_InitStruct);

  /*Configure GPIO pin : LB2_O_Pin */
  GPIO_InitStruct.Pin = LB2_O_Pin;
  GPIO_InitStruct.Mode = GPIO_MODE_INPUT;
  GPIO_InitStruct.Pull = GPIO_NOPULL;
  HAL_GPIO_Init(LB2_O_GPIO_Port, &GPIO_InitStruct);

  /*Configure GPIO pins : THCS1_Pin LD3_Pin EXT1_EN_Pin LB4_O_Pin */
  GPIO_InitStruct.Pin = THCS1_Pin|LD3_Pin|EXT1_EN_Pin|LB4_O_Pin;
  GPIO_InitStruct.Mode = GPIO_MODE_OUTPUT_PP;
  GPIO_InitStruct.Pull = GPIO_NOPULL;
  GPIO_InitStruct.Speed = GPIO_SPEED_FREQ_LOW;
  HAL_GPIO_Init(GPIOB, &GPIO_InitStruct);

  /*Configure GPIO pins : USB_OTG_FS_PWR_EN_Pin EXT2_EN_Pin EXT2_DIR_Pin */
  GPIO_InitStruct.Pin = USB_OTG_FS_PWR_EN_Pin|EXT2_EN_Pin|EXT2_DIR_Pin;
  GPIO_InitStruct.Mode = GPIO_MODE_OUTPUT_PP;
  GPIO_InitStruct.Pull = GPIO_NOPULL;
  GPIO_InitStruct.Speed = GPIO_SPEED_FREQ_LOW;
  HAL_GPIO_Init(GPIOD, &GPIO_InitStruct);

  /*Configure GPIO pins : D2_LED_Pin D1_LED_Pin FEED1_DIR_Pin */
  GPIO_InitStruct.Pin = D2_LED_Pin|D1_LED_Pin|FEED1_DIR_Pin;
  GPIO_InitStruct.Mode = GPIO_MODE_OUTPUT_PP;
  GPIO_InitStruct.Pull = GPIO_NOPULL;
  GPIO_InitStruct.Speed = GPIO_SPEED_FREQ_LOW;
  HAL_GPIO_Init(GPIOG, &GPIO_InitStruct);

  /*Configure GPIO pin : USB_OTG_FS_OVCR_Pin */
  GPIO_InitStruct.Pin = USB_OTG_FS_OVCR_Pin;
  GPIO_InitStruct.Mode = GPIO_MODE_IT_RISING;
  GPIO_InitStruct.Pull = GPIO_NOPULL;
  HAL_GPIO_Init(USB_OTG_FS_OVCR_GPIO_Port, &GPIO_InitStruct);

  /*Configure GPIO pins : PA8 PA11 PA12 */
  GPIO_InitStruct.Pin = GPIO_PIN_8|GPIO_PIN_11|GPIO_PIN_12;
  GPIO_InitStruct.Mode = GPIO_MODE_AF_PP;
  GPIO_InitStruct.Pull = GPIO_NOPULL;
  GPIO_InitStruct.Speed = GPIO_SPEED_FREQ_LOW;
  GPIO_InitStruct.Alternate = GPIO_AF10_OTG1_FS;
  HAL_GPIO_Init(GPIOA, &GPIO_InitStruct);

  /*Configure GPIO pins : PG11 PG13 */
  GPIO_InitStruct.Pin = GPIO_PIN_11|GPIO_PIN_13;
  GPIO_InitStruct.Mode = GPIO_MODE_AF_PP;
  GPIO_InitStruct.Pull = GPIO_NOPULL;
  GPIO_InitStruct.Speed = GPIO_SPEED_FREQ_LOW;
  GPIO_InitStruct.Alternate = GPIO_AF11_ETH;
  HAL_GPIO_Init(GPIOG, &GPIO_InitStruct);

  /*Configure GPIO pin : LB3_O_Pin */
  GPIO_InitStruct.Pin = LB3_O_Pin;
  GPIO_InitStruct.Mode = GPIO_MODE_INPUT;
  GPIO_InitStruct.Pull = GPIO_NOPULL;
  HAL_GPIO_Init(LB3_O_GPIO_Port, &GPIO_InitStruct);

  /* EXTI interrupt init*/
  HAL_NVIC_SetPriority(EXTI9_5_IRQn, 0, 0);
  HAL_NVIC_EnableIRQ(EXTI9_5_IRQn);

}

/* USER CODE BEGIN 4 */
/* Process Serial Input */
void processSerialInput(void)
{
char *command = strtok((char *)rxBuffer, "_");
char *valueStr = strtok(NULL, "_");

    if (command && valueStr)
    {
int value = atoi(valueStr);
if (strncmp(command, "PWM", 3) == 0)
        {
int pinIndex = atoi(command + 3);
            updatePWMValue(pinIndex, value);
        }
else if (strncmp(command, "GPIO", 4) == 0)
        {
int pinIndex = atoi(command + 4);
            setGPIOState(pinIndex, value != 0 ? GPIO_PIN_SET : GPIO_PIN_RESET);
        }
else
        {
printf("Unknown command\n");
        }
    }
}

void updatePWMValue(uint8_t pinIndex, uint16_t pwmValue) {

    switch (pinIndex) {
    	case 1: __HAL_TIM_SET_COMPARE(&htim3, TIM_CHANNEL_1, pwmValue);break;//Extruder 1 pwm
    	case 2: __HAL_TIM_SET_COMPARE(&htim4, TIM_CHANNEL_3, pwmValue);break;//Extruder 2 pwm
    	case 3: __HAL_TIM_SET_COMPARE(&htim4, TIM_CHANNEL_4, pwmValue);break;//Feed 1 pwm
    	case 4: __HAL_TIM_SET_COMPARE(&htim12, TIM_CHANNEL_2, pwmValue);break;//Feed 2 pwm
    	case 5: __HAL_TIM_SET_COMPARE(&htim2, TIM_CHANNEL_3, pwmValue);break;//L1 pwm
    	case 6: __HAL_TIM_SET_COMPARE(&htim2, TIM_CHANNEL_4, pwmValue);break;//L2 pwm
    	case 7: __HAL_TIM_SET_COMPARE(&htim2, TIM_CHANNEL_1, pwmValue);break;//L3 pwm
    	case 8: __HAL_TIM_SET_COMPARE(&htim3, TIM_CHANNEL_3, pwmValue);break;//L4 pwm

    	default: printf("Invalid PWM index\n"); return;

    }
  printf("PWM%d set to %d\n",pinIndex,pwmValue);
}

//GPIO state update
void setGPIOState(uint8_t pinIndex, GPIO_PinState state) {
    switch (pinIndex) {
        case 1: HAL_GPIO_WritePin(GPIOB, EXT1_EN_Pin, state); break;//Pin PB5 and PA7 are combined to work the same in nucleo board
        case 2: HAL_GPIO_WritePin(GPIOB, EXT1_DIR_Pin, state); break;
        case 3: HAL_GPIO_WritePin(GPIOD, EXT2_EN_Pin, state); break;
        case 4: HAL_GPIO_WritePin(GPIOD, EXT2_DIR_Pin, state); break;
        case 5: HAL_GPIO_WritePin(GPIOF, FEED1_EN_Pin, state); break;
        case 6: HAL_GPIO_WritePin(GPIOG, FEED1_DIR_Pin, state); break;
        case 7: HAL_GPIO_WritePin(GPIOE, FEED2_EN_Pin, state); break;
        case 8: HAL_GPIO_WritePin(GPIOE, FEED2_DIR_Pin, state); break;
        default: printf("Invalid GPIO index\n"); return;
    }
    printf("GPIO%d set to %s\n", pinIndex, state == GPIO_PIN_SET ? "ON" : "OFF");
}
/* UART Receive Complete Callback Function */
void HAL_UART_RxCpltCallback(UART_HandleTypeDef *huart) {
    if (huart->Instance == USART3) {
        if (rxIndex < RX_BUFFER_SIZE - 1) {
            if (rxBuffer[rxIndex] == '\n' || rxBuffer[rxIndex] == '\r') {
                rxBuffer[rxIndex] = '\0'; // Null-terminate the string
                dataReceived = 1;         // Signal that a command is ready to process
                rxIndex = 0;              // Reset index for next command
            } else {
                rxIndex++;               // Increment buffer index
            }
        } else {
            // Buffer overflow, reset index
            rxIndex = 0;
        }
        // Restart UART reception
        HAL_UART_Receive_IT(&huart3, &rxBuffer[rxIndex], 1);
    }
}
/* USER CODE END 4 */

void Error_Handler(void)
{
  __disable_irq();
  while (1)
  {
  }
}
